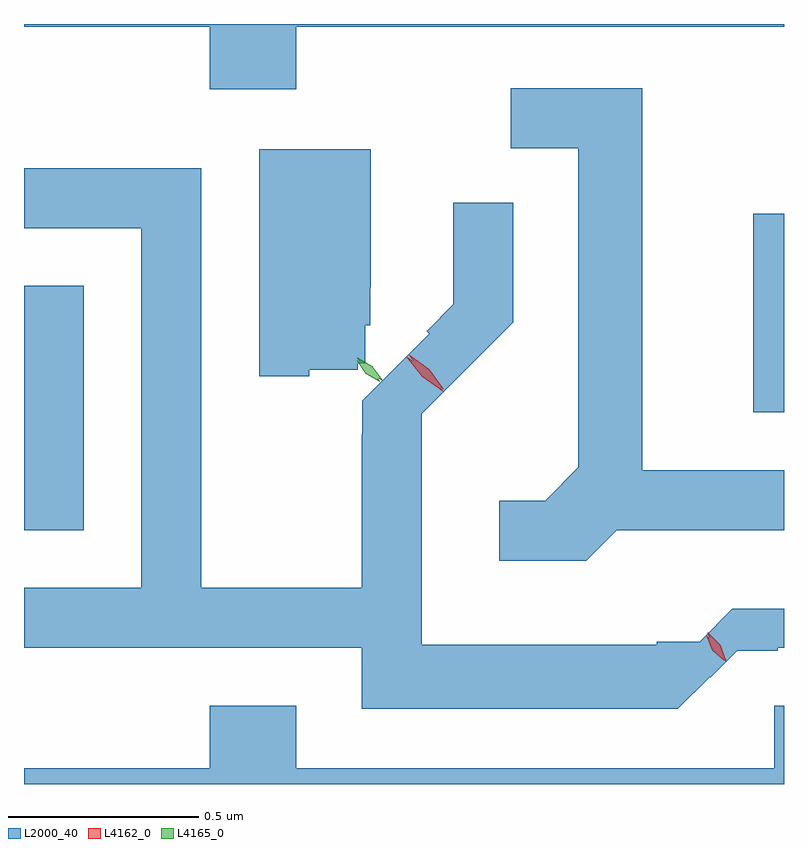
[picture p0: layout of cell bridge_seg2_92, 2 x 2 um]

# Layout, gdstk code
import gdstk
lib = gdstk.Library(unit=1e-6, precision=1e-09)
def R(c, l, rs):  # rectangles x0, y0, x1, y1
    for r in rs: c.add(gdstk.rectangle(r[:2], r[2:], *l))
def P(c, l, *ps):  # polygons
    for p in ps: c.add(gdstk.Polygon(p, *l))
L2000_40 = (2000, 40)
L4162_0 = (4162, 0)
L4165_0 = (4165, 0)

bridge_seg2_92 = lib.new_cell('bridge_seg2_92')
R(bridge_seg2_92, L2000_40, [(1221.012,1075.851,1221.169,1076.494), (1222.931,1076.161,1223.012,1076.684)])
P(bridge_seg2_92, L2000_40, [(1221.729,1077.176),(1223.012,1077.176),(1223.012,1077.183),(1221.012,1077.183),(1221.012,1077.176),(1221.501,1077.176),(1221.501,1077.011),(1221.729,1077.011)],
  [(1222.572,1075.851),(1223.012,1075.851),(1223.012,1076.009),(1222.639,1076.009),(1222.639,1077.014),(1222.293,1077.014),(1222.293,1076.856),(1222.471,1076.856),(1222.471,1076.017),(1222.384,1075.929),(1222.263,1075.929),(1222.263,1075.771),(1222.492,1075.771)],
  [(1221.763,1076.273),(1221.89,1076.273),(1221.89,1076.29),(1221.91,1076.29),(1221.91,1076.39),(1221.923,1076.39),(1221.923,1076.49),(1221.924,1076.49),(1221.924,1076.854),(1221.631,1076.854),(1221.631,1076.256),(1221.763,1076.256)],
  [(1222.816,1075.464),(1222.818,1075.463),(1222.889,1075.534),(1222.995,1075.534),(1222.995,1075.541),(1223.012,1075.541),(1223.012,1075.644),(1222.876,1075.644),(1222.79,1075.558),(1222.677,1075.558),(1222.677,1075.549),(1222.059,1075.549),(1222.059,1076.158),(1222.299,1076.398),(1222.299,1076.713),(1222.141,1076.713),(1222.141,1076.445),(1222.072,1076.375),(1222.079,1076.368),(1221.902,1076.192),(1221.902,1076.103),(1221.901,1076.103),(1221.901,1075.699),(1221.479,1075.699),(1221.479,1076.804),(1221.012,1076.804),(1221.012,1076.646),(1221.321,1076.646),(1221.321,1075.699),(1221.012,1075.699),(1221.012,1075.541),(1221.901,1075.541),(1221.901,1075.381),(1222.733,1075.381)],
  [(1223.012,1075.389),(1222.986,1075.389),(1222.986,1075.224),(1221.729,1075.224),(1221.729,1075.389),(1221.501,1075.389),(1221.501,1075.224),(1221.012,1075.224),(1221.012,1075.183),(1223.012,1075.183)])
P(bridge_seg2_92, L4162_0, [(1222.86,1075.505),(1222.859,1075.506),(1222.827,1075.538),(1222.811,1075.581),(1222.811,1075.582),(1222.812,1075.581),(1222.844,1075.549),(1222.86,1075.506)],
  [(1222.114,1076.216),(1222.06,1076.255),(1222.018,1076.308),(1222.018,1076.308),(1222.019,1076.308),(1222.073,1076.269),(1222.115,1076.216),(1222.115,1076.216)],
  [(1222.853,1075.509),(1222.823,1075.535),(1222.809,1075.572),(1222.809,1075.573),(1222.81,1075.572),(1222.84,1075.546),(1222.854,1075.51),(1222.854,1075.509)],
  [(1222.115,1076.222),(1222.064,1076.26),(1222.026,1076.311),(1222.026,1076.312),(1222.026,1076.312),(1222.078,1076.274),(1222.116,1076.222),(1222.116,1076.222)])
P(bridge_seg2_92, L4165_0, [(1221.954,1076.246),(1221.916,1076.268),(1221.889,1076.304),(1221.889,1076.305),(1221.89,1076.305),(1221.929,1076.283),(1221.955,1076.247),(1221.955,1076.246)],
  [(1221.948,1076.242),(1221.911,1076.263),(1221.888,1076.298),(1221.888,1076.298),(1221.888,1076.298),(1221.925,1076.277),(1221.948,1076.243),(1221.948,1076.242)])

lib.write_gds('bridge_seg2_92.gds')
